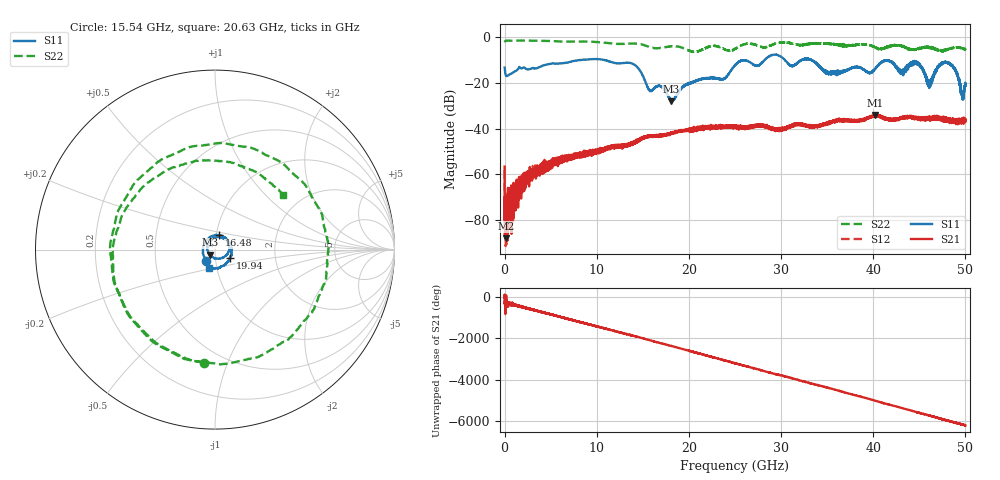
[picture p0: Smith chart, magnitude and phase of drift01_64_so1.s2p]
!Created with skrf (http://scikit-rf.org).
# Hz S RI R 50.0
!freq ReS11 ImS11 ReS21 ImS21 ReS12 ImS12 ReS22 ImS22
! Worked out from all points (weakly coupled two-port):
!   10001 points, 300 kHz to 50 GHz, reference 50 ohm
!   highest |S21| = -33.97 dB at 40.22 GHz (marker M1); lowest = -88.1 dB at 120.3 MHz (marker M2)
!   lowest |S11| = -28.0 dB at 18.09 GHz (marker M3), VSWR 1.08, Z = 47.2 - j2.65 ohm
!   |S11| at or under -10 dB: 10.91 GHz to 25.86 GHz (14.95 GHz wide, 81.3 % of centre); 33.35 GHz to 41.54 GHz (8.193 GHz wide, 21.9 % of centre); 41.54 GHz to end of sweep (the widest 3 of 12)
!   |S22| runs from -6.3 to -1.4 dB; largest |S21 - S12| = 0.0037
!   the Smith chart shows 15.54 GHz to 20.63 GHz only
!   S11 on the Smith chart (normalised r, x): 15.54 GHz: 0.90, -0.11; 16.48 GHz: 1.03, +0.17; 19.94 GHz: 1.17, -0.11; 20.63 GHz: 0.91, -0.19
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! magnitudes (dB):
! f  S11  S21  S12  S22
! 300 kHz  -13.2  -56.6  -58.3  -2.1
! 120.3 MHz  -16.6  -88.1  -77.2  -1.5
! 255.3 MHz  -16.9  -76.2  -71.4  -1.4
! 3.365 GHz  -13.6  -59.2  -58.1  -1.5
! 8.335 GHz  -9.9  -52.2  -51.4  -1.8
! 13.86 GHz  -11.5  -46.8  -45.9  -2.7
! 15.54 GHz  -21.9  -43.5  -43.8  -4.0
! 16.48 GHz  -21.5  -43.2  -43.4  -4.8
! 16.67 GHz  -21.3  -43.6  -43.0  -4.8
! 18.09 GHz  -28.0  -42.0  -42.1  -3.9
! 19.94 GHz  -20.4  -40.5  -40.7  -5.7
! 20.63 GHz  -19.4  -40.0  -40.2  -6.3
! 25 GHz  -12.2  -39.3  -39.0  -5.0
! 33.34 GHz  -10.1  -39.1  -39.0  -2.7
! 35.14 GHz  -15.5  -37.5  -37.6  -2.8
! 40.22 GHz  -13.7  -34.0  -34.4  -4.5
! 41.67 GHz  -10.1  -36.1  -36.3  -4.2
! 43.1 GHz  -15.7  -35.3  -35.5  -3.9
! 44.78 GHz  -11.8  -35.0  -35.6  -5.2
! 46.12 GHz  -19.7  -34.5  -35.3  -4.2
! 48.05 GHz  -11.3  -36.5  -36.4  -5.1
! 50 GHz  -21.1  -35.9  -36.2  -5.2
